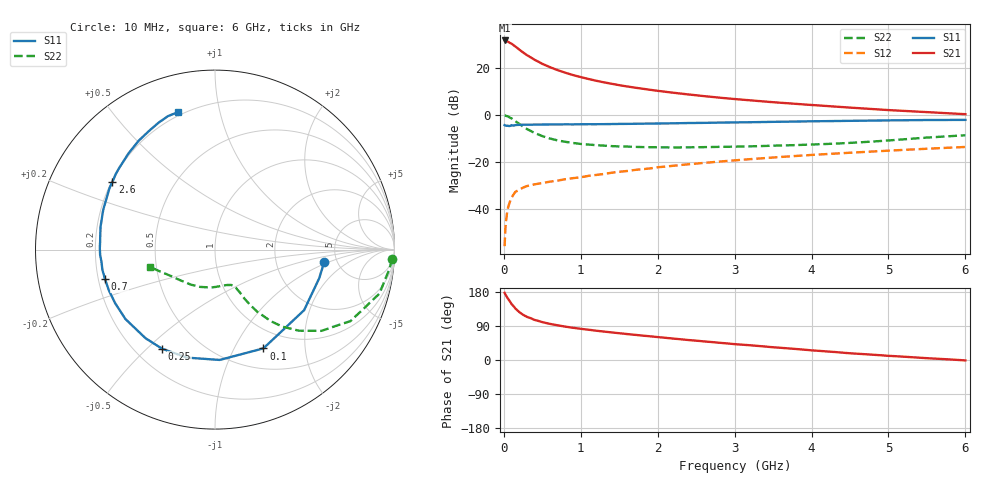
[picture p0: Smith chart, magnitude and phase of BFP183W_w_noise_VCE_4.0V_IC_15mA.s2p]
! Infineon Technologies  Discrete & RF Semiconductors
! BFP183W
! VCE =  4.0 V,  IC =  15 mA
! Common Emitter S-Parameters:  Jan 2017
# GHz  S  MA  R  50
!  f  S11  S21  S12  S22
! GHz  MAG  ANG  MAG  ANG  MAG  ANG  MAG  ANG
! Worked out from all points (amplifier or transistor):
!   77 points, 10 MHz to 6 GHz, reference 50 ohm
!   highest |S21| = 31.9 dB at 10 MHz (marker M1)
!   |S21| within 3 dB of that: start of sweep to 165.8 MHz
!   unconditionally stable (mu >= 1): 1.335 GHz to 3.784 GHz
!   at 130 MHz: K = 0.19, MSG = 31.7 dB, |S12| = -33.7 dB
!   at 2.2 GHz: K = 1.07, MAG = 14.0 dB, |S12| = -21.6 dB
!   at 6 GHz: K = 0.87, MSG = 7.0 dB, |S12| = -13.6 dB
!   lowest NFmin = 1.05 dB at 450 MHz
!   S11 on the Smith chart (normalised r, x): 10 MHz: 3.97, -0.85; 100 MHz: 0.75, -1.32; 250 MHz: 0.31, -0.56; 700 MHz: 0.23, -0.12; 2.6 GHz: 0.20, +0.29; 6 GHz: 0.18, +0.75
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0.01  0.6127 -6.3  39.33 177.2  0.0016 88.2  0.9878 -3.0
0.02  0.6023 -15.3  38.81 173.0  0.0038 96.3  0.9783 -6.2
0.05  0.6003 -34.2  37.37 162.9  0.0099 73.9  0.9484 -15.0
0.1  0.6129 -63.9  33.61 147.8  0.0173 65.4  0.8538 -27.8
0.15  0.6153 -87.6  29.19 135.9  0.0231 56.3  0.7455 -37.4
0.2  0.622 -104.7  25.15 126.6  0.0256 50.9  0.6505 -44.0
0.25  0.626 -118.1  21.84 119.3  0.0284 47.1  0.5707 -48.8
0.3  0.6274 -128.1  19.11 113.9  0.0307 44.0  0.5061 -52.0
0.4  0.6314 -142.2  15.2 105.7  0.0334 42.1  0.4158 -55.9
0.5  0.6315 -151.9  12.47 99.9  0.0357 41.9  0.3576 -57.8
0.6  0.6335 -159.2  10.58 95.3  0.0381 42.4  0.3175 -59.0
0.7  0.6344 -165.1  9.137 91.5  0.0402 44.8  0.2889 -59.5
0.9  0.6363 -174.0  7.171 85.0  0.0453 46.9  0.2552 -60.8
1.1  0.6418 179.3  5.922 79.9  0.0507 49.9  0.2361 -61.8
1.3  0.6437 173.5  5.023 75.0  0.0556 51.1  0.2239 -63.6
1.5  0.6504 168.6  4.371 70.7  0.0619 52.0  0.2151 -66.0
2.1  0.6668 155.6  3.16 58.6  0.0801 54.1  0.2055 -77.1
2.6  0.6852 146.5  2.552 49.1  0.0957 53.9  0.208 -89.2
3.1  0.7038 138.2  2.143 40.4  0.1118 52.7  0.2143 -101.7
4.1  0.7433 123.8  1.609 24.1  0.1448 48.5  0.2395 -127.1
5.1  0.7768 112.9  1.258 9.9  0.1782 43.4  0.2967 -151.7
6  0.7935 104.9  1.05 -1.1  0.2097 37.8  0.3726 -165.0
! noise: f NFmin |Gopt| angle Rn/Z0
0.45  1.05  0.15  158  0.1
0.9  1.09  0.21  163  0.09
1.9  1.56  0.39  -168  0.08
2.4  1.8  0.44  -161  0.11
